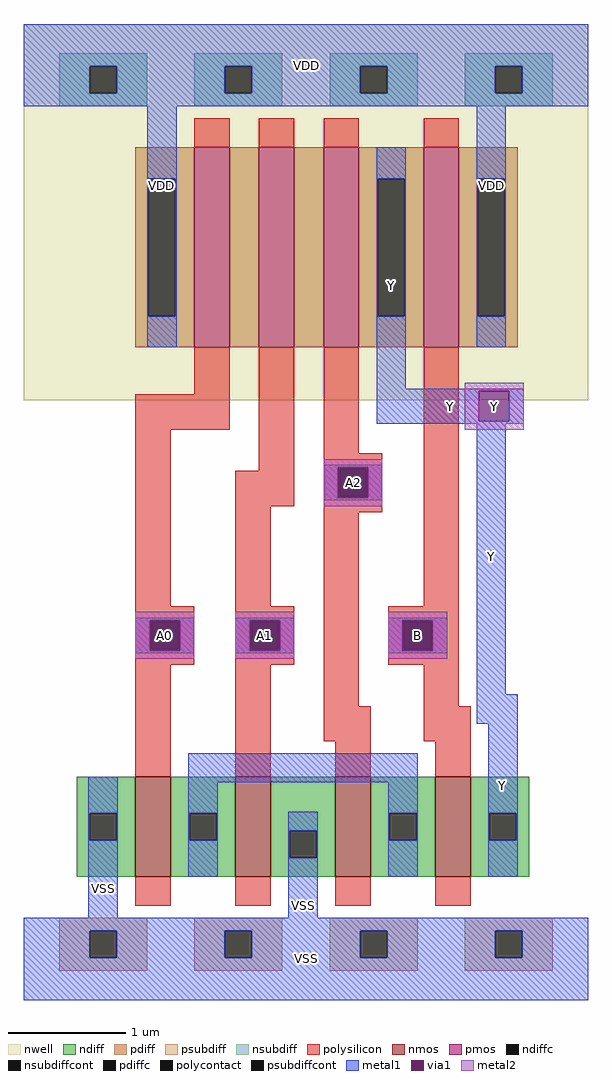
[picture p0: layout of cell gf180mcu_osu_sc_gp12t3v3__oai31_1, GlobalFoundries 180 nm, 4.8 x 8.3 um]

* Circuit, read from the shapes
.subckt gf180mcu_osu_sc_gp12t3v3__oai31_1 A0 A1 A2 B Y VDD VSS
XM1 n1 A0 VSS VSS nfet_03v3 w=0.85u l=0.3u
XM2 VSS A1 n1 VSS nfet_03v3 w=0.85u l=0.3u
XM3 n1 A2 VSS VSS nfet_03v3 w=0.85u l=0.3u
XM4 Y B n1 VSS nfet_03v3 w=0.85u l=0.3u
XM5 n2 A0 VDD VDD pfet_03v3 w=1.7u l=0.3u
XM6 n3 A1 n2 VDD pfet_03v3 w=1.7u l=0.3u
XM7 Y A2 n3 VDD pfet_03v3 w=1.7u l=0.3u
XM8 VDD B Y VDD pfet_03v3 w=1.7u l=0.3u
.ends

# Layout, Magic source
magic
tech gf180mcuA
magscale 1 10
<< nwell >>
rect 0 1020 960 1660
<< nmos >>
rect 190 210 250 380
rect 360 210 420 380
rect 530 210 590 380
rect 700 210 760 380
<< pmos >>
rect 290 1110 350 1450
rect 400 1110 460 1450
rect 510 1110 570 1450
rect 680 1110 740 1450
<< ndiff >>
rect 90 318 190 380
rect 90 272 112 318
rect 158 272 190 318
rect 90 210 190 272
rect 250 318 360 380
rect 250 272 282 318
rect 328 272 360 318
rect 250 210 360 272
rect 420 288 530 380
rect 420 242 452 288
rect 498 242 530 288
rect 420 210 530 242
rect 590 318 700 380
rect 590 272 622 318
rect 668 272 700 318
rect 590 210 700 272
rect 760 318 860 380
rect 760 272 792 318
rect 838 272 860 318
rect 760 210 860 272
<< pdiff >>
rect 190 1397 290 1450
rect 190 1163 212 1397
rect 258 1163 290 1397
rect 190 1110 290 1163
rect 350 1110 400 1450
rect 460 1110 510 1450
rect 570 1397 680 1450
rect 570 1163 602 1397
rect 648 1163 680 1397
rect 570 1110 680 1163
rect 740 1397 840 1450
rect 740 1163 772 1397
rect 818 1163 840 1397
rect 740 1110 840 1163
<< ndiffc >>
rect 112 272 158 318
rect 282 272 328 318
rect 452 242 498 288
rect 622 272 668 318
rect 792 272 838 318
<< pdiffc >>
rect 212 1163 258 1397
rect 602 1163 648 1397
rect 772 1163 818 1397
<< psubdiff >>
rect 60 118 210 140
rect 60 72 112 118
rect 158 72 210 118
rect 60 50 210 72
rect 290 118 440 140
rect 290 72 342 118
rect 388 72 440 118
rect 290 50 440 72
rect 520 118 670 140
rect 520 72 572 118
rect 618 72 670 118
rect 520 50 670 72
rect 750 118 900 140
rect 750 72 802 118
rect 848 72 900 118
rect 750 50 900 72
<< nsubdiff >>
rect 60 1588 210 1610
rect 60 1542 112 1588
rect 158 1542 210 1588
rect 60 1520 210 1542
rect 290 1588 440 1610
rect 290 1542 342 1588
rect 388 1542 440 1588
rect 290 1520 440 1542
rect 520 1588 670 1610
rect 520 1542 572 1588
rect 618 1542 670 1588
rect 520 1520 670 1542
rect 750 1588 900 1610
rect 750 1542 802 1588
rect 848 1542 900 1588
rect 750 1520 900 1542
<< psubdiffcont >>
rect 112 72 158 118
rect 342 72 388 118
rect 572 72 618 118
rect 802 72 848 118
<< nsubdiffcont >>
rect 112 1542 158 1588
rect 342 1542 388 1588
rect 572 1542 618 1588
rect 802 1542 848 1588
<< polysilicon >>
rect 290 1450 350 1500
rect 400 1450 460 1500
rect 510 1450 570 1500
rect 680 1450 740 1500
rect 290 1030 350 1110
rect 190 970 350 1030
rect 190 670 250 970
rect 400 900 460 1110
rect 360 840 460 900
rect 510 930 570 1110
rect 510 903 610 930
rect 510 857 537 903
rect 583 857 610 903
rect 360 670 420 840
rect 510 830 610 857
rect 190 643 290 670
rect 190 597 217 643
rect 263 597 290 643
rect 190 570 290 597
rect 360 643 460 670
rect 360 597 387 643
rect 433 597 460 643
rect 360 570 460 597
rect 190 380 250 570
rect 360 380 420 570
rect 510 500 570 830
rect 680 670 740 1110
rect 620 643 740 670
rect 620 597 647 643
rect 693 597 740 643
rect 620 570 740 597
rect 680 500 740 570
rect 510 440 590 500
rect 680 440 760 500
rect 530 380 590 440
rect 700 380 760 440
rect 190 160 250 210
rect 360 160 420 210
rect 530 160 590 210
rect 700 160 760 210
<< polycontact >>
rect 537 857 583 903
rect 217 597 263 643
rect 387 597 433 643
rect 647 597 693 643
<< metal1 >>
rect 0 1588 960 1660
rect 0 1542 112 1588
rect 158 1542 342 1588
rect 388 1542 572 1588
rect 618 1542 802 1588
rect 848 1542 960 1588
rect 0 1520 960 1542
rect 210 1397 260 1520
rect 210 1163 212 1397
rect 258 1163 260 1397
rect 210 1110 260 1163
rect 600 1397 650 1450
rect 600 1163 602 1397
rect 648 1163 650 1397
rect 600 1040 650 1163
rect 770 1397 820 1520
rect 770 1163 772 1397
rect 818 1163 820 1397
rect 770 1110 820 1163
rect 600 1036 850 1040
rect 600 984 774 1036
rect 826 984 850 1036
rect 600 980 850 984
rect 510 906 610 910
rect 510 854 534 906
rect 586 854 610 906
rect 510 850 610 854
rect 190 646 290 650
rect 190 594 214 646
rect 266 594 290 646
rect 190 590 290 594
rect 360 646 460 650
rect 360 594 384 646
rect 436 594 460 646
rect 360 590 460 594
rect 620 646 720 650
rect 620 594 644 646
rect 696 594 720 646
rect 620 590 720 594
rect 770 520 820 980
rect 770 470 840 520
rect 110 318 160 380
rect 110 272 112 318
rect 158 272 160 318
rect 110 140 160 272
rect 280 370 670 420
rect 280 318 330 370
rect 280 272 282 318
rect 328 272 330 318
rect 280 210 330 272
rect 450 288 500 320
rect 450 242 452 288
rect 498 242 500 288
rect 450 140 500 242
rect 620 318 670 370
rect 620 272 622 318
rect 668 272 670 318
rect 620 210 670 272
rect 790 318 840 470
rect 790 272 792 318
rect 838 272 840 318
rect 790 210 840 272
rect 0 118 960 140
rect 0 72 112 118
rect 158 72 342 118
rect 388 72 572 118
rect 618 72 802 118
rect 848 72 960 118
rect 0 0 960 72
<< via1 >>
rect 774 984 826 1036
rect 534 903 586 906
rect 534 857 537 903
rect 537 857 583 903
rect 583 857 586 903
rect 534 854 586 857
rect 214 643 266 646
rect 214 597 217 643
rect 217 597 263 643
rect 263 597 266 643
rect 214 594 266 597
rect 384 643 436 646
rect 384 597 387 643
rect 387 597 433 643
rect 433 597 436 643
rect 384 594 436 597
rect 644 643 696 646
rect 644 597 647 643
rect 647 597 693 643
rect 693 597 696 643
rect 644 594 696 597
<< metal2 >>
rect 750 1036 850 1050
rect 750 984 774 1036
rect 826 984 850 1036
rect 750 970 850 984
rect 510 906 610 920
rect 510 854 534 906
rect 586 854 610 906
rect 510 840 610 854
rect 190 646 290 660
rect 190 594 214 646
rect 266 594 290 646
rect 190 580 290 594
rect 360 646 460 660
rect 360 594 384 646
rect 436 594 460 646
rect 360 580 460 594
rect 620 646 720 660
rect 620 594 644 646
rect 696 594 720 646
rect 620 580 720 594
<< labels >>
rlabel via1 s 214 594 266 646 4 A0
port 1 nsew signal input
rlabel via1 s 384 594 436 646 4 A1
port 2 nsew signal input
rlabel via1 s 534 854 586 906 4 A2
port 3 nsew signal input
rlabel via1 s 644 594 696 646 4 B
port 4 nsew signal input
rlabel via1 s 774 984 826 1036 4 Y
port 5 nsew signal output
rlabel metal1 s 110 0 160 380 4 VSS
port 7 nsew ground bidirectional abutment
rlabel metal1 s 210 1110 260 1660 4 VDD
port 6 nsew power bidirectional abutment
rlabel metal1 s 770 1110 820 1660 1 VDD
port 6 nsew power bidirectional abutment
rlabel metal1 s 0 1520 960 1660 1 VDD
port 6 nsew power bidirectional abutment
rlabel metal1 s 450 0 500 320 1 VSS
port 7 nsew ground bidirectional abutment
rlabel metal1 s 0 0 960 140 1 VSS
port 7 nsew ground bidirectional abutment
rlabel metal2 s 190 580 290 660 1 A0
port 1 nsew signal input
rlabel metal1 s 190 590 290 650 1 A0
port 1 nsew signal input
rlabel metal2 s 360 580 460 660 1 A1
port 2 nsew signal input
rlabel metal1 s 360 590 460 650 1 A1
port 2 nsew signal input
rlabel metal2 s 510 840 610 920 1 A2
port 3 nsew signal input
rlabel metal1 s 510 850 610 910 1 A2
port 3 nsew signal input
rlabel metal2 s 620 580 720 660 1 B
port 4 nsew signal input
rlabel metal1 s 620 590 720 650 1 B
port 4 nsew signal input
rlabel metal2 s 750 970 850 1050 1 Y
port 5 nsew signal output
rlabel metal1 s 600 980 650 1450 1 Y
port 5 nsew signal output
rlabel metal1 s 770 470 820 1040 1 Y
port 5 nsew signal output
rlabel metal1 s 790 210 840 520 1 Y
port 5 nsew signal output
rlabel metal1 s 600 980 850 1040 1 Y
port 5 nsew signal output
<< properties >>
string FIXED_BBOX 0 0 960 1660
string GDS_END 491704
string GDS_FILE $PDKPATH/libs.ref/gf180mcu_osu_sc_gp12t3v3/gds/gf180mcu_osu_sc_gp12t3v3.gds
string GDS_START 485478
string LEFclass CORE
string LEFsite gf180mcu_osu_sc_gp12t3v3
string LEFsymmetry X Y
<< end >>
